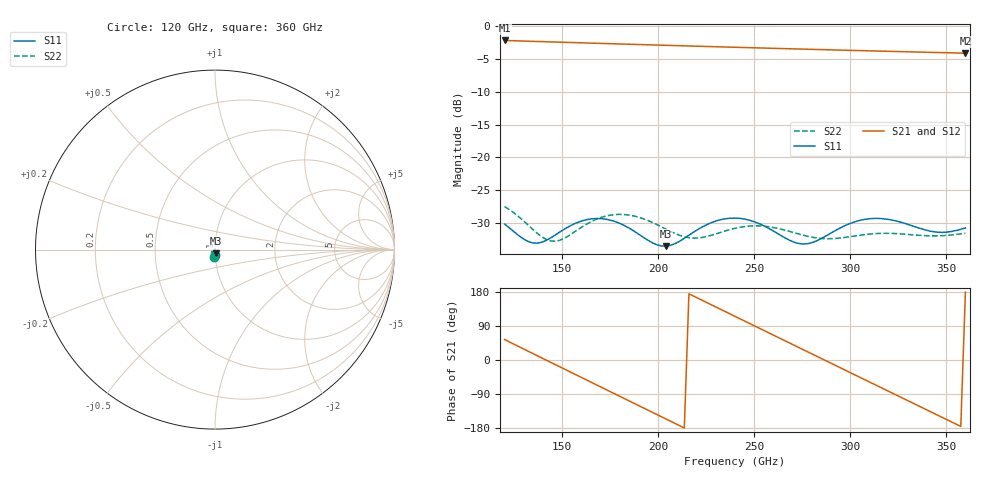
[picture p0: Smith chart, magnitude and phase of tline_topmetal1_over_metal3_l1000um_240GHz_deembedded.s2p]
! Created with skrf 2.2.0 (http://scikit-rf.org).
# GHz S DB R 50.0
! Port[1] = P1
! Port[2] = P2
!freq dBS11 angS11 dBS21 angS21 dBS12 angS12 dBS22 angS22
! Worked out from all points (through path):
!   101 points, 120 GHz to 360 GHz, reference 50 ohm
!   highest |S21| = -2.18 dB at 120 GHz (marker M1); lowest = -4.1 dB at 360 GHz (marker M2)
!   group delay of S21, straight-line fit = 6.89 ps
!   lowest |S11| = -33.5 dB at 204 GHz (marker M3), VSWR 1.04, Z = 50.3 - j2.09 ohm
!   |S11| at or under -10 dB: start of sweep to end of sweep
!   |S22| runs from -32.8 to -27.5 dB; largest |S21 - S12| = 1.1e-13
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120  -30.14 -86.0  -2.18 53.9  -2.18 53.9  -27.49 -98.1
129.6  -32.37 -83.0  -2.27 29.9  -2.27 29.9  -29.60 -106.1
139.2  -32.93 -69.0  -2.36 5.9  -2.36 5.9  -32.05 -102.1
148.8  -31.35 -62.2  -2.45 -18.1  -2.45 -18.1  -32.61 -86.7
160.8  -29.62 -69.0  -2.55 -48.0  -2.55 -48.0  -30.49 -79.7
170.4  -29.32 -79.2  -2.63 -72.0  -2.63 -72.0  -29.12 -85.9
180  -30.04 -88.7  -2.72 -95.9  -2.72 -95.9  -28.67 -95.6
189.6  -31.64 -92.9  -2.80 -119.7  -2.80 -119.7  -29.09 -105.1
201.6  -33.48 -83.2  -2.90 -149.6  -2.90 -149.6  -30.56 -111.8
204  -33.51 -79.6  -2.92 -155.5  -2.92 -155.5  -30.92 -112.0
220.8  -30.95 -68.8  -3.06 162.8  -3.06 162.8  -32.27 -102.5
240  -29.24 -84.8  -3.22 115.2  -3.22 115.2  -30.79 -99.2
249.6  -29.75 -93.9  -3.30 91.4  -3.30 91.4  -30.42 -104.0
259.2  -31.07 -98.9  -3.38 67.6  -3.38 67.6  -30.63 -109.0
271.2  -32.96 -93.0  -3.47 38.0  -3.47 38.0  -31.50 -112.0
280.8  -32.91 -80.8  -3.54 14.2  -3.54 14.2  -32.18 -110.0
300  -30.05 -77.8  -3.69 -33.2  -3.69 -33.2  -32.07 -102.9
312  -29.30 -86.4  -3.78 -62.8  -3.78 -62.8  -31.63 -103.1
321.6  -29.53 -93.2  -3.85 -86.5  -3.85 -86.5  -31.57 -104.4
331.2  -30.31 -96.8  -3.92 -110.2  -3.92 -110.2  -31.75 -104.9
343.2  -31.30 -93.8  -4.00 -139.8  -4.00 -139.8  -31.95 -102.9
360  -30.73 -84.9  -4.12 178.8  -4.12 178.8  -31.55 -99.7
